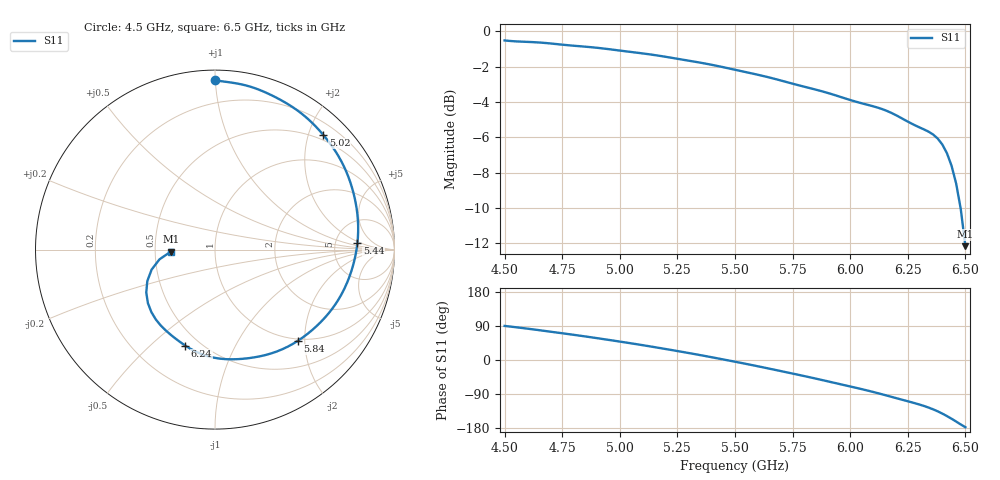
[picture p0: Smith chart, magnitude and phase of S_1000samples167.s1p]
! TOUCHSTONE file generated by CST MICROWAVE STUDIO
! Date and time: Thu Oct 27 05:43:03 2022
! Project name: L.cst
! Parameters = {Di=1.27; Epsilon_r=1.56; InnerDiameter=1.27; Length=2; Lf=10; Lg=60; OuterConductorThickness=0.2921; OuterDiameter=3.6; Wf=3; Wp=41.2; de=1.5; df=6.8; g=0.8; gx=2.52764; gy=3.70292; h=2.34; hf=1.524; px=10.8615; py=13.4511; w=9.7; wx=8.33391; wy=9.74817}
! Header version: 2018
! Port assignment regex: !\s*Touchstone port\s*([0-9]+)\s*=\s*(CST MWS port|CST DS port)\s*([0-9]+|Zmin|Zmax)\s*\(\"(.*)\"\)(\s*mode\s*([0-9]+))?.*
! Touchstone port assignment:
! Touchstone port 1 = CST MWS port 1 ("")
# GHz S DB R 50
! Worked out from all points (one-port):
!   101 points, 4.5 GHz to 6.5 GHz, reference 50 ohm
!   lowest |S11| = -12.2 dB at 6.5 GHz (marker M1), VSWR 1.65, Z = 30.2 - j0.727 ohm
!   |S11| at or under -10 dB: 6.479023 GHz to end of sweep
!   S11 on the Smith chart (normalised r, x): 4.5 GHz: 0.06, +1.00; 5.02 GHz: 0.40, +2.25; 5.44 GHz: 8.40, +1.58; 5.84 GHz: 0.97, -1.86; 6.24 GHz: 0.42, -0.65; 6.5 GHz: 0.60, -0.01
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4.5  -0.51 89.9
4.64  -0.62 79.5
4.76  -0.77 69.7
4.88  -0.90 59.5
5  -1.09 48.6
5.02  -1.12 46.7
5.14  -1.32 35.0
5.26  -1.57 22.6
5.36  -1.80 11.7
5.44  -2.00 2.5
5.5  -2.17 -4.5
5.62  -2.52 -19.2
5.76  -3.00 -37.1
5.84  -3.27 -47.7
5.92  -3.56 -58.7
6  -3.89 -69.9
6.12  -4.32 -87.5
6.18  -4.63 -97.4
6.24  -5.04 -107.3
6.26  -5.18 -110.5
6.32  -5.55 -121.2
6.36  -5.84 -130.2
6.4  -6.41 -141.5
6.42  -6.90 -148.0
6.44  -7.62 -155.0
6.46  -8.63 -162.5
6.48  -10.07 -170.1
6.5  -12.17 -177.4
